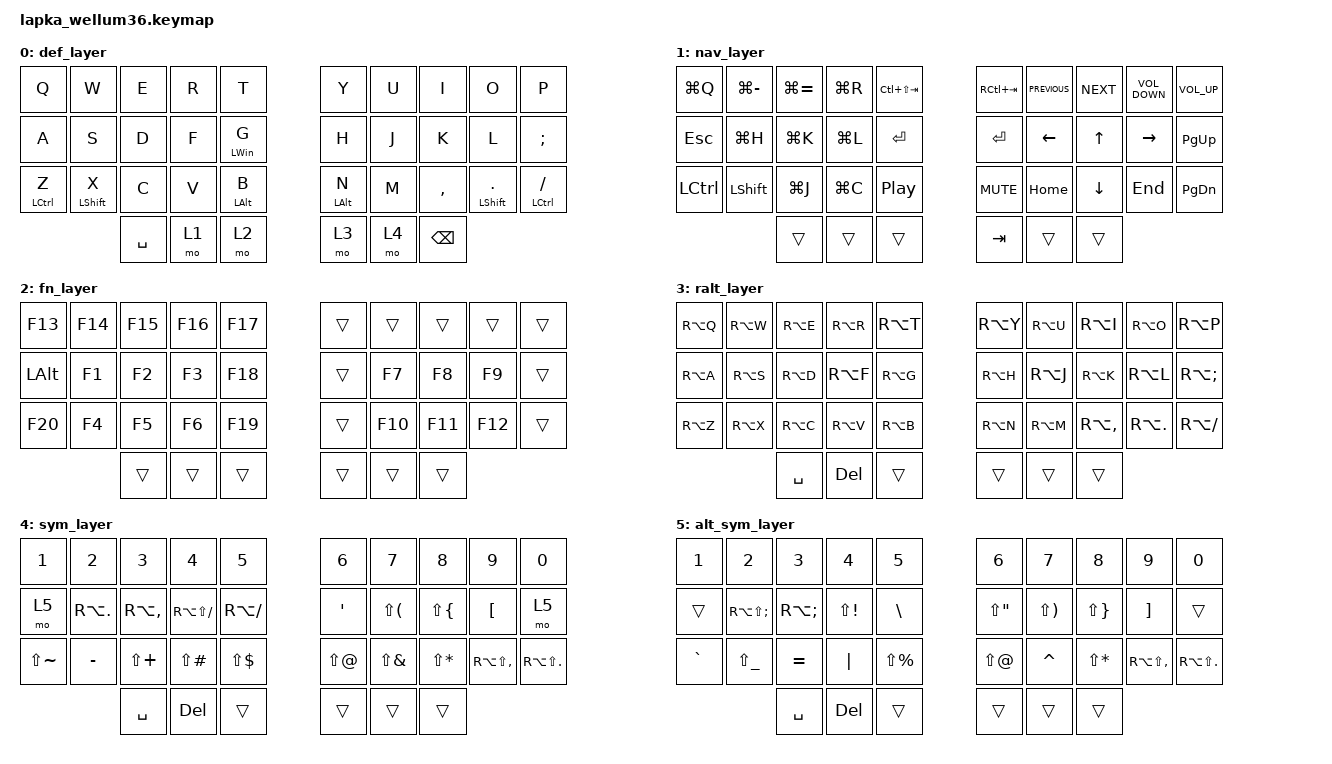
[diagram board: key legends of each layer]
#include <behaviors.dtsi>
#include <dt-bindings/zmk/keys.h>

/ {
    conditional_layers { compatible = "zmk,conditional-layers"; };

    combos {
        compatible = "zmk,combos";

        rus_left {
            bindings = <&kp LS(LG(NUMBER_1))>;
            key-positions = <21 22>;
        };

        eng_left {
            bindings = <&kp LG(LS(NUMBER_2))>;
            key-positions = <23 22>;
        };

        rus_right {
            bindings = <&kp LS(LG(NUMBER_1))>;
            key-positions = <27 28>;
        };

        eng_right {
            bindings = <&kp LG(LS(NUMBER_2))>;
            key-positions = <26 27>;
        };

        sleep_left {
            bindings = <&soft_off>;
            key-positions = <10 12 14>; /* A, D, G */
        };

        sleep_right {
            bindings = <&soft_off>;
            key-positions = <15 17 19>; /* H, K, SEMICOLON */
        };
    };

    keymap {
        compatible = "zmk,keymap";

        def_layer {
            bindings = <
&kp Q        &kp W             &kp E      &kp R  &kp T           &kp Y            &kp U  &kp I          &kp O                &kp P
&kp A        &kp S             &kp D      &kp F  &mt LEFT_WIN G  &kp H            &kp J  &kp K          &kp L                &kp SEMICOLON
&mt LCTRL Z  &mt LEFT_SHIFT X  &kp C      &kp V  &mt LEFT_ALT B  &mt LEFT_ALT N   &kp M  &kp COMMA      &mt LEFT_SHIFT DOT   &mt LCTRL SLASH
                               &kp SPACE  &mo 1  &mo 2           &mo 3            &mo 4  &kp BACKSPACE
            >;
        };

        nav_layer {
            bindings = <
&kp LG(Q)   &kp LG(MINUS)  &kp LG(EQUAL)  &kp LG(R)  &kp LC(LS(TAB))   &kp RC(TAB)  &kp C_PREVIOUS  &kp C_NEXT      &kp C_VOLUME_DOWN  &kp C_VOLUME_UP
&kp ESCAPE  &kp LG(H)      &kp LG(K)      &kp LG(L)  &kp ENTER         &kp ENTER    &kp LEFT_ARROW  &kp UP_ARROW    &kp RIGHT_ARROW    &kp PG_UP
&kp LCTRL   &kp LSHIFT     &kp LG(J)      &kp LG(C)  &kp C_PLAY_PAUSE  &kp C_MUTE   &kp HOME        &kp DOWN_ARROW  &kp END            &kp PAGE_DOWN
                           &trans         &trans     &trans            &kp TAB      &trans          &trans
            >;
        };

        fn_layer {
            bindings = <
&kp F13   &kp F14  &kp F15  &kp F16  &kp F17  &trans  &trans   &trans   &trans   &trans
&kp LALT  &kp F1   &kp F2   &kp F3   &kp F18  &trans  &kp F7   &kp F8   &kp F9   &trans
&kp F20   &kp F4   &kp F5   &kp F6   &kp F19  &trans  &kp F10  &kp F11  &kp F12  &trans
                   &trans   &trans   &trans   &trans  &trans   &trans
            >;
        };

        ralt_layer {
            bindings = <
&kp RA(Q)  &kp RA(W)  &kp RA(E)  &kp RA(R)   &kp RA(T)  &kp RA(Y)  &kp RA(U)  &kp RA(I)      &kp RA(O)       &kp RA(P)
&kp RA(A)  &kp RA(S)  &kp RA(D)  &kp RA(F)   &kp RA(G)  &kp RA(H)  &kp RA(J)  &kp RA(K)      &kp RA(L)       &kp RA(SEMI)
&kp RA(Z)  &kp RA(X)  &kp RA(C)  &kp RA(V)   &kp RA(B)  &kp RA(N)  &kp RA(M)  &kp RA(COMMA)  &kp RA(PERIOD)  &kp RA(FSLH)
                      &kp SPACE  &kp DELETE  &trans     &trans     &trans     &trans
            >;
        };

        sym_layer {
            bindings = <
&kp N1         &kp N2       &kp N3         &kp N4            &kp N5        &kp N6      &kp N7        &kp N8        &kp N9             &kp N0
&mo 5          &kp RA(DOT)  &kp RA(COMMA)  &kp RA(LS(FSLH))  &kp RA(FSLH)  &kp APOS    &kp LS(LPAR)  &kp LS(LBRC)  &kp LBKT           &mo 5
&kp LS(TILDE)  &kp MINUS    &kp LS(PLUS)   &kp LS(POUND)     &kp LS(DLLR)  &kp LS(AT)  &kp LS(AMPS)  &kp LS(STAR)  &kp RA(LS(COMMA))  &kp RA(LS(DOT))
                            &kp SPACE      &kp DELETE        &trans        &trans      &trans        &trans
            >;
        };

        alt_sym_layer {
            bindings = <
&kp N1     &kp N2            &kp N3        &kp N4        &kp N5         &kp N6       &kp N7        &kp N8        &kp N9             &kp N0
&trans     &kp RA(LS(SEMI))  &kp RA(SEMI)  &kp LS(EXCL)  &kp BSLH       &kp LS(DQT)  &kp LS(RPAR)  &kp LS(RBRC)  &kp RBKT           &trans
&kp GRAVE  &kp LS(UNDER)     &kp EQUAL     &kp PIPE      &kp LS(PRCNT)  &kp LS(AT)   &kp CARET     &kp LS(STAR)  &kp RA(LS(COMMA))  &kp RA(LS(DOT))
                             &kp SPACE     &kp DELETE    &trans         &trans       &trans        &trans
            >;
        };
    };
};

&mt {
    flavor = "tap-preferred";
    tapping-term-ms = <200>;
    quick-tap-ms = <100>;
    require-prior-idle-ms = <150>;
};
